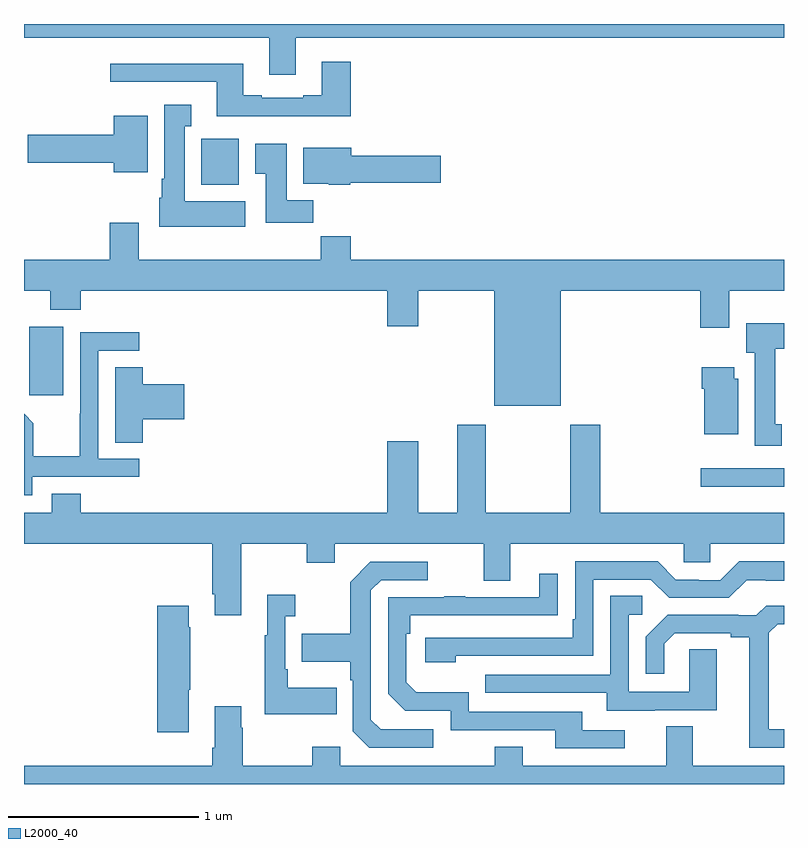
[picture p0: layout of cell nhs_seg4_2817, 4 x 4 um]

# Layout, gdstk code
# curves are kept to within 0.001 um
import gdstk
lib = gdstk.Library(unit=1e-6, precision=1e-09)
def R(c, l, rs):  # rectangles x0, y0, x1, y1
    for r in rs: c.add(gdstk.rectangle(r[:2], r[2:], *l))
def P(c, l, *ps):  # polygons
    for p in ps: c.add(gdstk.Polygon(p, *l))
L2000_40 = (2000, 40)

nhs_seg4_2817 = lib.new_cell('nhs_seg4_2817')
R(nhs_seg4_2817, L2000_40, [(262.563,786.464,263,786.561), (259.028,786.945,259.207,787.306), (259.934,788.054,260.131,788.296)])
P(nhs_seg4_2817, L2000_40, [(260.431,788.828),(263,788.828),(263,788.9),(259,788.9),(259,788.828),(260.291,788.828),(260.291,788.634),(260.431,788.634)],
  [(260.72,788.701),(260.567,788.701),(260.567,788.524),(260.471,788.524),(260.471,788.511),(260.251,788.511),(260.251,788.524),(260.155,788.524),(260.155,788.692),(259.455,788.692),(259.455,788.595),(260.015,788.595),(260.015,788.414),(260.72,788.414)],
  [(260.164,787.966),(259.846,787.966),(259.846,788.363),(259.879,788.363),(259.879,788.476),(259.739,788.476),(259.739,788.086),(259.724,788.086),(259.724,787.986),(259.712,787.986),(259.712,787.832),(260.164,787.832)],
  [(259.651,788.416),(259.472,788.416),(259.472,788.318),(259.02,788.318),(259.02,788.171),(259.472,788.171),(259.472,788.12),(259.651,788.12)],
  [(260.522,787.972),(260.383,787.972),(260.383,788.269),(260.216,788.269),(260.216,788.113),(260.273,788.113),(260.273,787.854),(260.522,787.854)],
  [(260.718,788.065),(261.193,788.065),(261.193,788.207),(260.722,788.207),(260.722,788.248),(260.471,788.248),(260.471,788.06),(260.604,788.06),(260.604,788.054),(260.718,788.054)],
  [(261.826,787.496),(262.559,787.496),(262.559,787.302),(262.711,787.302),(262.711,787.496),(263,787.496),(263,787.66),(260.72,787.66),(260.72,787.784),(260.563,787.784),(260.563,787.66),(259.603,787.66),(259.603,787.855),(259.451,787.855),(259.451,787.66),(259,787.66),(259,787.496),(259.138,787.496),(259.138,787.397),(259.298,787.397),(259.298,787.496),(260.912,787.496),(260.912,787.308),(261.076,787.308),(261.076,787.496),(261.476,787.496),(261.476,786.89),(261.826,786.89)],
  [(262.987,786.794),(262.954,786.794),(262.954,787.19),(263,787.19),(263,787.324),(262.802,787.324),(262.802,787.17),(262.847,787.17),(262.847,786.681),(262.987,786.681)],
  [(259.044,786.516),(259.606,786.516),(259.606,786.612),(259.392,786.612),(259.392,787.179),(259.606,787.179),(259.606,787.278),(259.296,787.278),(259.296,786.848),(259.294,786.848),(259.294,786.625),(259.049,786.625),(259.049,786.799),(259,786.848),(259,786.419),(259.044,786.419)],
  [(259.625,786.821),(259.843,786.821),(259.843,787.004),(259.625,787.004),(259.625,787.094),(259.481,787.094),(259.481,786.697),(259.625,786.697)],
  [(262.759,787.032),(262.738,787.032),(262.738,787.093),(262.568,787.093),(262.568,786.98),(262.58,786.98),(262.58,786.74),(262.759,786.74)],
  [(259.298,786.427),(259.145,786.427),(259.145,786.328),(259,786.328),(259,786.164),(259.991,786.164),(259.991,785.899),(260.003,785.899),(260.003,785.787),(260.143,785.787),(260.143,786.164),(260.488,786.164),(260.488,786.065),(260.635,786.065),(260.635,786.164),(261.419,786.164),(261.419,785.97),(261.559,785.97),(261.559,786.164),(262.473,786.164),(262.473,786.066),(262.611,786.066),(262.611,786.164),(263,786.164),(263,786.328),(262.034,786.328),(262.034,786.79),(261.874,786.79),(261.874,786.328),(261.429,786.328),(261.429,786.79),(261.281,786.79),(261.281,786.328),(261.076,786.328),(261.076,786.703),(260.912,786.703),(260.912,786.328),(259.298,786.328)],
  [(261.272,785.574),(261.996,785.574),(261.996,785.976),(262.299,785.976),(262.395,785.88),(262.71,785.88),(262.803,785.973),(262.903,785.973),(262.903,785.969),(263,785.969),(263,786.073),(262.765,786.073),(262.665,785.973),(262.55,785.973),(262.55,785.976),(262.431,785.976),(262.335,786.072),(261.9,786.072),(261.9,785.767),(261.887,785.767),(261.887,785.67),(261.111,785.67),(261.111,785.54),(261.272,785.54)],
  [(261.154,785.187),(260.877,785.187),(260.826,785.238),(260.826,785.919),(260.88,785.973),(261.124,785.973),(261.124,786.069),(260.823,786.069),(260.718,785.963),(260.718,785.691),(260.461,785.691),(260.461,785.543),(260.718,785.543),(260.718,785.447),(260.73,785.447),(260.73,785.178),(260.817,785.091),(261.154,785.091)],
  [(262.162,785.184),(261.937,785.184),(261.937,785.28),(261.342,785.28),(261.342,785.383),(261.065,785.383),(261.012,785.436),(261.012,785.69),(261.032,785.69),(261.032,785.787),(261.809,785.788),(261.809,786.007),(261.713,786.007),(261.713,785.883),(261.323,785.883),(261.323,785.888),(261.211,785.888),(261.211,785.883),(260.916,785.883),(260.916,785.376),(261.006,785.286),(261.246,785.286),(261.246,785.184),(261.797,785.184),(261.797,785.088),(262.162,785.088)],
  [(260.645,785.407),(260.389,785.407),(260.389,785.503),(260.376,785.503),(260.376,785.783),(260.428,785.783),(260.428,785.896),(260.279,785.896),(260.279,785.683),(260.267,785.683),(260.267,785.267),(260.645,785.267)],
  [(262.321,785.289),(262.645,785.289),(262.645,785.609),(262.5,785.609),(262.5,785.385),(262.182,785.385),(262.182,785.79),(262.255,785.79),(262.255,785.891),(262.086,785.891),(262.086,785.475),(261.427,785.475),(261.427,785.379),(262.067,785.379),(262.067,785.285),(262.321,785.285)],
  [(259.867,785.395),(259.875,785.395),(259.875,785.726),(259.867,785.726),(259.867,785.839),(259.7,785.839),(259.7,785.172),(259.867,785.172)],
  [(263,785.187),(262.921,785.187),(262.921,785.695),(262.968,785.742),(263,785.742),(263,785.839),(262.906,785.839),(262.854,785.787),(262.76,785.787),(262.76,785.79),(262.388,785.79),(262.272,785.674),(262.272,785.481),(262.369,785.481),(262.369,785.637),(262.426,785.694),(262.721,785.694),(262.721,785.672),(262.817,785.672),(262.817,785.091),(263,785.091)],
  [(263,784.996),(262.519,784.996),(262.519,785.204),(262.379,785.204),(262.379,784.996),(261.625,784.996),(261.625,785.095),(261.478,785.095),(261.478,784.996),(260.664,784.996),(260.664,785.095),(260.517,785.095),(260.517,784.996),(260.151,784.996),(260.151,785.195),(260.143,785.195),(260.143,785.308),(260.003,785.308),(260.003,785.092),(259.991,785.092),(259.991,784.996),(259,784.996),(259,784.9),(263,784.9)])

lib.write_gds('nhs_seg4_2817.gds')
